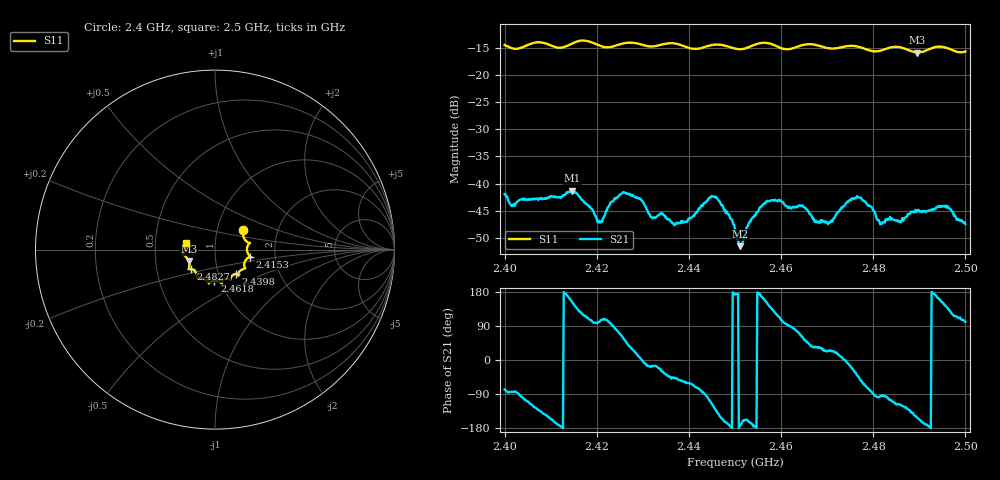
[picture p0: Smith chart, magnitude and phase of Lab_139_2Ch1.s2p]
# Hz S RI R 50
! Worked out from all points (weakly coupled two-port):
!   601 points, 2.4 GHz to 2.5 GHz, reference 50 ohm
!   highest |S21| = -41.31 dB at 2.4147 GHz (marker M1); lowest = -51.5 dB at 2.4512 GHz (marker M2)
!   lowest |S11| = -15.9 dB at 2.4895 GHz (marker M3), VSWR 1.38, Z = 37 - j5.03 ohm
!   |S11| at or under -10 dB: start of sweep to end of sweep
!   S12 and S22 are empty: the file has one direction only
!   S11 on the Smith chart (normalised r, x): 2.4 GHz: 1.33, +0.29; 2.4153 GHz: 1.48, -0.12; 2.4398 GHz: 1.21, -0.34; 2.4618 GHz: 0.94, -0.33; 2.4827 GHz: 0.75, -0.17; 2.5 GHz: 0.72, +0.06
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2.4e9  0.1553 0.1065  0.00171 -0.00783  0 0  0 0
2.401833e9  0.1568 0.0768  0.000674 -0.00634  0 0  0 0
2.414667e9  0.1919 -0.034  -0.00766 0.00391  0 0  0 0
2.415333e9  0.1966 -0.0388  -0.00644 0.00509  0 0  0 0
2.416667e9  0.2025 -0.043  -0.00391 0.00595  0 0  0 0
2.420667e9  0.1786 -0.0502  -0.000874 0.00429  0 0  0 0
2.426e9  0.1674 -0.1018  0.00495 0.00666  0 0  0 0
2.433333e9  0.1297 -0.1342  0.00477 -0.00181  0 0  0 0
2.439833e9  0.1151 -0.1357  0.00231 -0.00408  0 0  0 0
2.445333e9  0.084 -0.1696  -0.00406 -0.0064  0 0  0 0
2.45e9  0.0651 -0.1621  -0.0038 0.000508  0 0  0 0
2.451167e9  0.0524 -0.164  -0.00263 -0.000412  0 0  0 0
2.4565e9  0.0389 -0.1936  -0.00604 0.00252  0 0  0 0
2.461833e9  -0.00332 -0.1729  1.5e-05 0.00613  0 0  0 0
2.466667e9  -0.0349 -0.1881  0.00408 0.0029  0 0  0 0
2.470667e9  -0.0551 -0.1661  0.00402 0.00177  0 0  0 0
2.476833e9  -0.0963 -0.1538  0.00525 -0.0053  0 0  0 0
2.482667e9  -0.1348 -0.1086  -0.000553 -0.00464  0 0  0 0
2.483333e9  -0.1399 -0.1082  -0.00112 -0.0046  0 0  0 0
2.4895e9  -0.146 -0.0663  -0.00497 -0.00267  0 0  0 0
2.495833e9  -0.1772 -0.0163  -0.00487 0.00393  0 0  0 0
2.5e9  -0.1595 0.0389  -0.000789 0.00417  0 0  0 0
